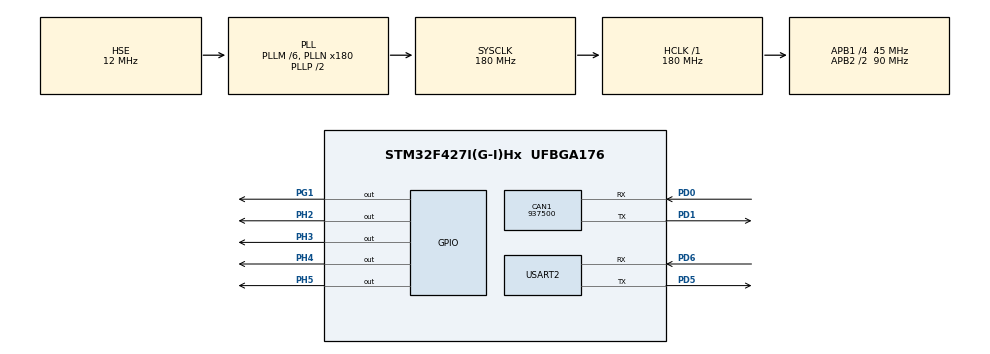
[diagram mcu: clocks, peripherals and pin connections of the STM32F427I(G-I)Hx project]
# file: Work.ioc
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CAN1.CalculateBaudRate=937500
CAN1.CalculateTimeBit=1066
CAN1.CalculateTimeQuantum=355.55555555555554
Dma.Request0=USART2_RX
Dma.Request1=USART2_TX
Dma.USART2_RX.0.Direction=DMA_PERIPH_TO_MEMORY
Dma.USART2_RX.0.FIFOMode=DMA_FIFOMODE_DISABLE
Dma.USART2_RX.0.Instance=DMA1_Stream5
Dma.USART2_RX.0.MemDataAlignment=DMA_MDATAALIGN_BYTE
Dma.USART2_RX.0.MemInc=DMA_MINC_ENABLE
Dma.USART2_RX.0.Mode=DMA_NORMAL
Dma.USART2_RX.0.PeriphDataAlignment=DMA_PDATAALIGN_BYTE
Dma.USART2_RX.0.PeriphInc=DMA_PINC_DISABLE
Dma.USART2_RX.0.Priority=DMA_PRIORITY_LOW
Dma.USART2_TX.1.Direction=DMA_MEMORY_TO_PERIPH
Dma.USART2_TX.1.FIFOMode=DMA_FIFOMODE_DISABLE
Dma.USART2_TX.1.Instance=DMA1_Stream6
Dma.USART2_TX.1.MemDataAlignment=DMA_MDATAALIGN_BYTE
Dma.USART2_TX.1.MemInc=DMA_MINC_ENABLE
Dma.USART2_TX.1.Mode=DMA_NORMAL
Dma.USART2_TX.1.PeriphDataAlignment=DMA_PDATAALIGN_BYTE
Dma.USART2_TX.1.PeriphInc=DMA_PINC_DISABLE
Dma.USART2_TX.1.Priority=DMA_PRIORITY_LOW
Mcu.Family=STM32F4
Mcu.Name=STM32F427I(G-I)Hx
Mcu.Package=UFBGA176
NVIC.DMA1_Stream5_IRQn=true\:0\:0\:false\:false\:true\:false\:true\:true
NVIC.DMA1_Stream6_IRQn=true\:0\:0\:false\:false\:true\:false\:true\:true
NVIC.PriorityGroup=NVIC_PRIORITYGROUP_4
NVIC.TIM2_IRQn=true\:0\:0\:false\:false\:true\:true\:true\:true
NVIC.USART2_IRQn=true\:0\:0\:false\:false\:true\:true\:true\:true
PA13.Mode=Serial_Wire
PA13.Signal=SYS_JTMS-SWDIO
PA14.Mode=Serial_Wire
PA14.Signal=SYS_JTCK-SWCLK
PD0.Mode=CAN_Activate
PD0.Signal=CAN1_RX
PD1.Mode=CAN_Activate
PD1.Signal=CAN1_TX
PD5.Mode=Asynchronous
PD5.Signal=USART2_TX
PD6.Mode=Asynchronous
PD6.Signal=USART2_RX
PG1.Signal=GPIO_Output
PH0/OSC_IN.Mode=HSE-External-Oscillator
PH0/OSC_IN.Signal=RCC_OSC_IN
PH1/OSC_OUT.Mode=HSE-External-Oscillator
PH1/OSC_OUT.Signal=RCC_OSC_OUT
PH2.GPIO_PuPd=GPIO_PULLUP
PH2.PinState=GPIO_PIN_SET
PH2.Signal=GPIO_Output
PH3.Signal=GPIO_Output
PH4.Signal=GPIO_Output
PH5.Signal=GPIO_Output
ProjectManager.HeapSize=0x200
ProjectManager.StackSize=0x400
ProjectManager.TargetToolchain=MDK-ARM V5.32
RCC.48MHZClocksFreq_Value=90000000
RCC.AHBFreq_Value=180000000
RCC.APB1CLKDivider=RCC_HCLK_DIV4
RCC.APB1Freq_Value=45000000
RCC.APB1TimFreq_Value=90000000
RCC.APB2CLKDivider=RCC_HCLK_DIV2
RCC.APB2Freq_Value=90000000
RCC.APB2TimFreq_Value=180000000
RCC.CortexFreq_Value=180000000
RCC.HCLKFreq_Value=180000000
RCC.HSE_VALUE=12000000
RCC.HSI_VALUE=16000000
RCC.LSE_VALUE=32768
RCC.PLLM=6
RCC.PLLN=180
RCC.PLLSourceVirtual=RCC_PLLSOURCE_HSE
RCC.SYSCLKFreq_VALUE=180000000
RCC.SYSCLKSource=RCC_SYSCLKSOURCE_PLLCLK
RCC.VCOOutputFreq_Value=360000000
TIM2.Period=999
TIM2.Prescaler=89
USART2.VirtualMode=VM_ASYNC
VP_TIM2_VS_ClockSourceINT.Mode=Internal
board=custom

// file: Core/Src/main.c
/* USER CODE BEGIN Header */
/**
  ******************************************************************************
  * @file           : main.c
  * @brief          : Main program body
  ******************************************************************************
  * @attention
  *
  * Copyright (c) 2025 STMicroelectronics.
  * All rights reserved.
  *
  * This software is licensed under terms that can be found in the LICENSE file
  * in the root directory of this software component.
  * If no LICENSE file comes with this software, it is provided AS-IS.
  *
  ******************************************************************************
  */
/* USER CODE END Header */
#include "main.h"
#include "can.h"
#include "dma.h"
#include "tim.h"
#include "usart.h"
#include "gpio.h"

/* USER CODE BEGIN Includes */

#include "drv_bsp.h"

#include "dvc_serialplot.h"
#include "dvc_motor.h"

#include <stdlib.h>
#include <time.h>

/* USER CODE END Includes */

void SystemClock_Config(void);
/* USER CODE BEGIN PFP */

#define CYCLE_COUNT 6283

Class_Serialplot serialplot;
Class_Motor_C620 motor;

float Target_Omega, Now_Omega;
float t, b;
float a, a_min = 0.780f, a_max = 1.045f;
float w, w_min = 1.884f, w_max = 2.000f;

uint32_t Count, Flag;

static char Variable_Assignment_List[][SERIALPLOT_RX_VARIABLE_ASSIGNMENT_MAX_LENGTH] = {
  //电机调PID
  "po",
  "io",
  "do",
  "fo",
};

/* USER CODE END PFP */

/* USER CODE BEGIN 0 */

/**
 * @brief CAN报文回调函数
 *
 * @param Rx_Buffer CAN接收的信息结构体
 */
void CAN_Motor_Call_Back(Struct_CAN_Rx_Buffer *Rx_Buffer)
{
  switch (Rx_Buffer->Header.StdId)
  {
    case (0x201):
    {
      motor.CAN_RxCpltCallback(Rx_Buffer->Data);
    }
    break;
  }
}

/**
 * @brief HAL库UART接收DMA空闲中断
 *
 * @param huart UART编号
 * @param Size 长度
 */
void UART_Serialplot_Call_Back(uint8_t *Buffer, uint16_t Length)
{
  serialplot.UART_RxCpltCallback(Buffer);
  switch (serialplot.Get_Variable_Index())
  {
  case (0):
  {
    motor.PID_Omega.Set_K_P(serialplot.Get_Variable_Value());
  }
  break;
  case (1):
  {
    motor.PID_Omega.Set_K_I(serialplot.Get_Variable_Value());
  }
  break;
  case (2):
  {
    motor.PID_Omega.Set_K_D(serialplot.Get_Variable_Value());
  }
  break;
  case (3):
  {
    motor.PID_Omega.Set_K_F(serialplot.Get_Variable_Value());
  }
  break;

  default:
    break;
  }
}

/* USER CODE END 0 */

int main(void)
{

  /* MCU Configuration--------------------------------------------------------*/

  /* Reset of all peripherals, Initializes the Flash interface and the Systick. */
  HAL_Init();

  /* Configure the system clock */
  SystemClock_Config();

  /* Initialize all configured peripherals */
  MX_GPIO_Init();
  MX_DMA_Init();
  MX_CAN1_Init();
  MX_USART2_UART_Init();
  MX_TIM2_Init();
  /* USER CODE BEGIN 2 */

  srand(HAL_GetTick());

  BSP_Init(BSP_DC24_LU_ON | BSP_DC24_LD_ON | BSP_DC24_RU_ON | BSP_DC24_RD_ON);
  CAN_Init(&hcan1, CAN_Motor_Call_Back);
  UART_Init(&huart2, UART_Serialplot_Call_Back, SERIALPLOT_RX_VARIABLE_ASSIGNMENT_MAX_LENGTH);

  serialplot.Init(&huart2, 6, (char **)Variable_Assignment_List);

  motor.PID_Omega.Init(0.0f, 0.0f, 0.0f, 0.0f, 2500.0f, 2500.0f);
  motor.Init(&hcan1, CAN_Motor_ID_0x201, Control_Method_OMEGA);

  /* USER CODE END 2 */

  /* Infinite loop */
  /* USER CODE BEGIN WHILE */
  while (1)
  {
//    //spd = a * sin(w * t) + b
//    //t的单位为s, a的取值范围是0.780~1.045, w的取值范围是1.884~2.000
//    //b始终满足b = 2.090 - a
//    //t重置�?0, a和w重置为取值范围内的任意�??,实际转�?�和目标函数误差控制�?500ms�?

//    if(Flag == 1)
//    {
//      a = a_min + ((float)rand() / (float)RAND_MAX) * (a_max - a_min);
//      // a = 1.000f;
//      w = w_min + ((float)rand() / (float)RAND_MAX) * (w_max - w_min);
//      // w = 2.000f;
//      b = 2.090f - a;
//      Flag = 0;
//    }
//    t = Count / 1000.0f;
//    motor.Set_Target_Omega(10 * a * sin(w * t) + b);

//    //串口绘图显示内容
//    Target_Omega = motor.Get_Target_Omega();
//    Now_Omega = motor.Get_Now_Omega();
//    serialplot.Set_Data(6, &Target_Omega, &Now_Omega, &a, &w, &t, &b);
//    serialplot.TIM_Write_PeriodElapsedCallback();

//    //输出数据到电�?
//    motor.TIM_PID_PeriodElapsedCallback();

//    //通信设备回调函数
//    TIM_CAN_PeriodElapsedCallback();
//    TIM_UART_PeriodElapsedCallback();

//    //延时1ms
//    HAL_Delay(0);

		HAL_GPIO_TogglePin(GPIOG, GPIO_PIN_1);
		HAL_Delay(500);

    /* USER CODE END WHILE */

  }
}

void SystemClock_Config(void)
{
  RCC_OscInitTypeDef RCC_OscInitStruct = {0};
  RCC_ClkInitTypeDef RCC_ClkInitStruct = {0};

  /** Configure the main internal regulator output voltage
  */
  __HAL_RCC_PWR_CLK_ENABLE();
  __HAL_PWR_VOLTAGESCALING_CONFIG(PWR_REGULATOR_VOLTAGE_SCALE1);

  /** Initializes the RCC Oscillators according to the specified parameters
  * in the RCC_OscInitTypeDef structure.
  */
  RCC_OscInitStruct.OscillatorType = RCC_OSCILLATORTYPE_HSE;
  RCC_OscInitStruct.HSEState = RCC_HSE_ON;
  RCC_OscInitStruct.PLL.PLLState = RCC_PLL_ON;
  RCC_OscInitStruct.PLL.PLLSource = RCC_PLLSOURCE_HSE;
  RCC_OscInitStruct.PLL.PLLM = 6;
  RCC_OscInitStruct.PLL.PLLN = 180;
  RCC_OscInitStruct.PLL.PLLP = RCC_PLLP_DIV2;
  RCC_OscInitStruct.PLL.PLLQ = 4;
  if (HAL_RCC_OscConfig(&RCC_OscInitStruct) != HAL_OK)
  {
    Error_Handler();
  }

  /** Activate the Over-Drive mode
  */
  if (HAL_PWREx_EnableOverDrive() != HAL_OK)
  {
    Error_Handler();
  }

  /** Initializes the CPU, AHB and APB buses clocks
  */
  RCC_ClkInitStruct.ClockType = RCC_CLOCKTYPE_HCLK|RCC_CLOCKTYPE_SYSCLK
                              |RCC_CLOCKTYPE_PCLK1|RCC_CLOCKTYPE_PCLK2;
  RCC_ClkInitStruct.SYSCLKSource = RCC_SYSCLKSOURCE_PLLCLK;
  RCC_ClkInitStruct.AHBCLKDivider = RCC_SYSCLK_DIV1;
  RCC_ClkInitStruct.APB1CLKDivider = RCC_HCLK_DIV4;
  RCC_ClkInitStruct.APB2CLKDivider = RCC_HCLK_DIV2;

  if (HAL_RCC_ClockConfig(&RCC_ClkInitStruct, FLASH_LATENCY_5) != HAL_OK)
  {
    Error_Handler();
  }
}

/* USER CODE BEGIN 4 */

void HAL_TIM_PeriodElapsedCallback(TIM_HandleTypeDef *htim)
{
  if(htim->Instance == TIM2)
  {
    Count ++;
    if(Count >= CYCLE_COUNT)
    {
      Count = 0;
      Flag = 1;
    }
  }
}

/* USER CODE END 4 */

void Error_Handler(void)
{
  __disable_irq();
  while (1)
  {
  }
}
